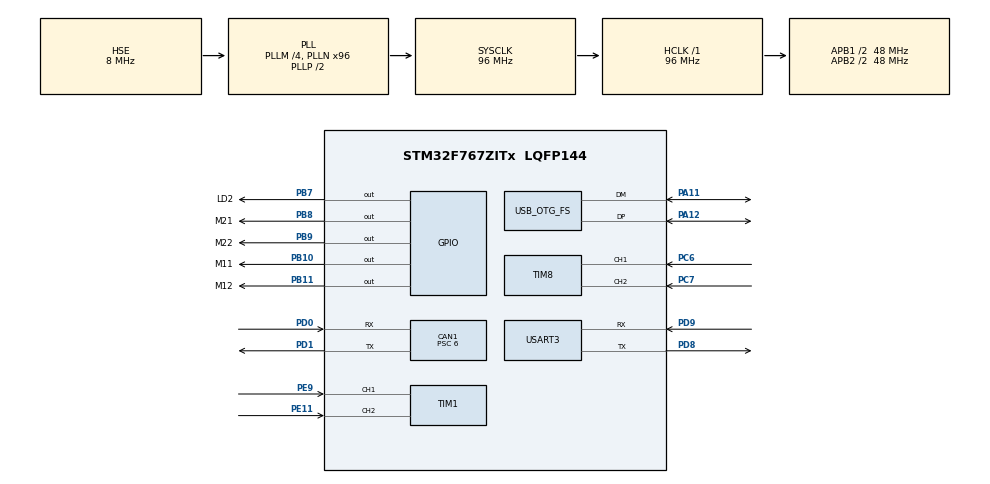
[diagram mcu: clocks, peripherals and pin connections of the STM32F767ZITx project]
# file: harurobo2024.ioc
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CAN1.BS1=CAN_BS1_6TQ
CAN1.CalculateBaudRate=1000000
CAN1.CalculateTimeBit=1000
CAN1.CalculateTimeQuantum=125.0
CAN1.Prescaler=6
CAN1.TXFP=ENABLE
Dma.Request0=USART3_RX
Dma.Request1=USART3_TX
Dma.USART3_RX.0.Direction=DMA_PERIPH_TO_MEMORY
Dma.USART3_RX.0.FIFOMode=DMA_FIFOMODE_DISABLE
Dma.USART3_RX.0.Instance=DMA1_Stream1
Dma.USART3_RX.0.MemDataAlignment=DMA_MDATAALIGN_BYTE
Dma.USART3_RX.0.MemInc=DMA_MINC_ENABLE
Dma.USART3_RX.0.Mode=DMA_CIRCULAR
Dma.USART3_RX.0.PeriphDataAlignment=DMA_PDATAALIGN_BYTE
Dma.USART3_RX.0.PeriphInc=DMA_PINC_DISABLE
Dma.USART3_RX.0.Priority=DMA_PRIORITY_VERY_HIGH
Dma.USART3_TX.1.Direction=DMA_MEMORY_TO_PERIPH
Dma.USART3_TX.1.FIFOMode=DMA_FIFOMODE_DISABLE
Dma.USART3_TX.1.Instance=DMA1_Stream3
Dma.USART3_TX.1.MemDataAlignment=DMA_MDATAALIGN_BYTE
Dma.USART3_TX.1.MemInc=DMA_MINC_ENABLE
Dma.USART3_TX.1.Mode=DMA_NORMAL
Dma.USART3_TX.1.PeriphDataAlignment=DMA_PDATAALIGN_BYTE
Dma.USART3_TX.1.PeriphInc=DMA_PINC_DISABLE
Dma.USART3_TX.1.Priority=DMA_PRIORITY_VERY_HIGH
FREERTOS.Tasks01=defaultTask,48,3000,StartDefaultTask,Default,NULL,Static,defaultTaskBuffer,defaultTaskControlBlock;SysCeckTask,8,512,StartSysCheckTask,Default,NULL,Static,SysCeckTaskBuffer,SysCeckTaskControlBlock;MotorRunTask,40,512,StartMotorRunTask,Default,NULL,Static,MotorRunTaskBuffer,MotorRunTaskControlBlock;EncorderTask,40,512,StartEncorderTask,Default,NULL,Static,EncorderTaskBuffer,EncorderTaskControlBlock
Mcu.Family=STM32F7
Mcu.Name=STM32F767ZITx
Mcu.Package=LQFP144
NVIC.CAN1_RX0_IRQn=true\:5\:0\:false\:false\:true\:true\:true\:true\:true
NVIC.CAN1_RX1_IRQn=true\:5\:0\:false\:false\:true\:true\:true\:true\:true
NVIC.CAN1_TX_IRQn=true\:5\:0\:false\:false\:true\:true\:true\:true\:true
NVIC.DMA1_Stream1_IRQn=true\:5\:0\:false\:false\:true\:true\:false\:true\:true
NVIC.DMA1_Stream3_IRQn=true\:5\:0\:false\:false\:true\:true\:false\:true\:true
NVIC.OTG_FS_IRQn=true\:5\:0\:false\:false\:true\:true\:false\:true\:true
NVIC.PriorityGroup=NVIC_PRIORITYGROUP_4
NVIC.TIM2_IRQn=true\:15\:0\:false\:false\:true\:false\:false\:true\:true
NVIC.TimeBase=TIM2_IRQn
NVIC.TimeBaseIP=TIM2
NVIC.USART3_IRQn=true\:5\:0\:false\:false\:true\:true\:true\:true\:true
PA11.Mode=Device_Only
PA11.Signal=USB_OTG_FS_DM
PA12.Mode=Device_Only
PA12.Signal=USB_OTG_FS_DP
PB10.GPIO_Label=M11
PB10.Signal=GPIO_Output
PB11.GPIO_Label=M12
PB11.Signal=GPIO_Output
PB7.GPIO_Label=LD2
PB7.Signal=GPIO_Output
PB8.GPIO_Label=M21
PB8.Signal=GPIO_Output
PB9.GPIO_Label=M22
PB9.Signal=GPIO_Output
PC6.Signal=S_TIM8_CH1
PC7.Signal=S_TIM8_CH2
PD0.Mode=CAN_Activate
PD0.Signal=CAN1_RX
PD1.Mode=CAN_Activate
PD1.Signal=CAN1_TX
PD8.Mode=Asynchronous
PD8.Signal=USART3_TX
PD9.Mode=Asynchronous
PD9.Signal=USART3_RX
PE11.Signal=S_TIM1_CH2
PE9.Signal=S_TIM1_CH1
PH0/OSC_IN.Mode=HSE-External-Oscillator
PH0/OSC_IN.Signal=RCC_OSC_IN
PH1/OSC_OUT.Mode=HSE-External-Oscillator
PH1/OSC_OUT.Signal=RCC_OSC_OUT
ProjectManager.HeapSize=0x200
ProjectManager.StackSize=0x400
ProjectManager.TargetToolchain=STM32CubeIDE
RCC.AHBFreq_Value=96000000
RCC.APB1CLKDivider=RCC_HCLK_DIV2
RCC.APB1Freq_Value=48000000
RCC.APB1TimFreq_Value=96000000
RCC.APB2CLKDivider=RCC_HCLK_DIV2
RCC.APB2Freq_Value=48000000
RCC.APB2TimFreq_Value=96000000
RCC.CortexFreq_Value=96000000
RCC.HCLKFreq_Value=96000000
RCC.HSE_VALUE=8000000
RCC.HSI_VALUE=16000000
RCC.LSE_VALUE=32768
RCC.PLLM=4
RCC.PLLN=96
RCC.PLLQ=4
RCC.SYSCLKFreq_VALUE=96000000
RCC.SYSCLKSource=RCC_SYSCLKSOURCE_PLLCLK
RCC.USBFreq_Value=48000000
RCC.VCOOutputFreq_Value=192000000
SH.S_TIM1_CH1.0=TIM1_CH1,Encoder_Interface
SH.S_TIM1_CH2.0=TIM1_CH2,Encoder_Interface
SH.S_TIM8_CH1.0=TIM8_CH1,Encoder_Interface
SH.S_TIM8_CH2.0=TIM8_CH2,Encoder_Interface
TIM1.EncoderMode=TIM_ENCODERMODE_TI12
TIM8.EncoderMode=TIM_ENCODERMODE_TI12
USART3.VirtualMode-Asynchronous=VM_ASYNC
USB_DEVICE.CLASS_NAME_FS=CDC
USB_DEVICE.VirtualMode-CDC_FS=Cdc
USB_DEVICE.VirtualModeFS=Cdc_FS
USB_OTG_FS.VirtualMode=Device_Only
VP_FREERTOS_VS_CMSIS_V2.Mode=CMSIS_V2
VP_SYS_VS_tim2.Mode=TIM2
VP_USB_DEVICE_VS_USB_DEVICE_CDC_FS.Mode=CDC_FS
board=custom

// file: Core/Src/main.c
/* USER CODE BEGIN Header */
/**
  ******************************************************************************
  * @file           : main.c
  * @brief          : Main program body
  ******************************************************************************
  * @attention
  *
  * Copyright (c) 2023 STMicroelectronics.
  * All rights reserved.
  *
  * This software is licensed under terms that can be found in the LICENSE file
  * in the root directory of this software component.
  * If no LICENSE file comes with this software, it is provided AS-IS.
  *
  ******************************************************************************
  */
/* USER CODE END Header */
#include "main.h"
#include "cmsis_os.h"
#include "can.h"
#include "dma.h"
#include "tim.h"
#include "usart.h"
#include "usb_device.h"
#include "gpio.h"

/* USER CODE BEGIN Includes */
#include "stdio.h"
#include "CAN_Main.h"
/* USER CODE END Includes */

void SystemClock_Config(void);
void MX_FREERTOS_Init(void);

/* USER CODE BEGIN 0 */
#ifdef __GNUC__
#define PUTCHAR_PROTOTYPE int __io_putchar(uint8_t ch)
#else
#define PUTCHAR_PROTOTYPE int fputc(int ch, FILE *f)
#endif /* __GNUC__ */

PUTCHAR_PROTOTYPE {
    HAL_UART_Transmit(&huart3, &ch, 1, 500);
    return ch;
}

/* USER CODE END 0 */

int main(void)
{

  /* MCU Configuration--------------------------------------------------------*/

  /* Reset of all peripherals, Initializes the Flash interface and the Systick. */
  HAL_Init();

  /* Configure the system clock */
  SystemClock_Config();

  /* Initialize all configured peripherals */
  MX_GPIO_Init();
  MX_DMA_Init();
  MX_USART3_UART_Init();
  MX_TIM1_Init();
  MX_CAN1_Init();
  MX_TIM8_Init();

  /* Init scheduler */
  osKernelInitialize();  /* Call init function for freertos objects (in freertos.c) */
  MX_FREERTOS_Init();

  /* Start scheduler */
  osKernelStart();

  /* We should never get here as control is now taken by the scheduler */
  /* Infinite loop */
  while (1)
  {

  }
}

void SystemClock_Config(void)
{
  RCC_OscInitTypeDef RCC_OscInitStruct = {0};
  RCC_ClkInitTypeDef RCC_ClkInitStruct = {0};

  /** Configure the main internal regulator output voltage
  */
  __HAL_RCC_PWR_CLK_ENABLE();
  __HAL_PWR_VOLTAGESCALING_CONFIG(PWR_REGULATOR_VOLTAGE_SCALE3);

  /** Initializes the RCC Oscillators according to the specified parameters
  * in the RCC_OscInitTypeDef structure.
  */
  RCC_OscInitStruct.OscillatorType = RCC_OSCILLATORTYPE_HSE;
  RCC_OscInitStruct.HSEState = RCC_HSE_ON;
  RCC_OscInitStruct.PLL.PLLState = RCC_PLL_ON;
  RCC_OscInitStruct.PLL.PLLSource = RCC_PLLSOURCE_HSE;
  RCC_OscInitStruct.PLL.PLLM = 4;
  RCC_OscInitStruct.PLL.PLLN = 96;
  RCC_OscInitStruct.PLL.PLLP = RCC_PLLP_DIV2;
  RCC_OscInitStruct.PLL.PLLQ = 4;
  RCC_OscInitStruct.PLL.PLLR = 2;
  if (HAL_RCC_OscConfig(&RCC_OscInitStruct) != HAL_OK)
  {
    Error_Handler();
  }

  /** Activate the Over-Drive mode
  */
  if (HAL_PWREx_EnableOverDrive() != HAL_OK)
  {
    Error_Handler();
  }

  /** Initializes the CPU, AHB and APB buses clocks
  */
  RCC_ClkInitStruct.ClockType = RCC_CLOCKTYPE_HCLK|RCC_CLOCKTYPE_SYSCLK
                              |RCC_CLOCKTYPE_PCLK1|RCC_CLOCKTYPE_PCLK2;
  RCC_ClkInitStruct.SYSCLKSource = RCC_SYSCLKSOURCE_PLLCLK;
  RCC_ClkInitStruct.AHBCLKDivider = RCC_SYSCLK_DIV1;
  RCC_ClkInitStruct.APB1CLKDivider = RCC_HCLK_DIV2;
  RCC_ClkInitStruct.APB2CLKDivider = RCC_HCLK_DIV2;

  if (HAL_RCC_ClockConfig(&RCC_ClkInitStruct, FLASH_LATENCY_3) != HAL_OK)
  {
    Error_Handler();
  }
}

void HAL_TIM_PeriodElapsedCallback(TIM_HandleTypeDef *htim)
{
  if (htim->Instance == TIM2) {
    HAL_IncTick();
  }
}

void Error_Handler(void)
{
  __disable_irq();
  while (1)
  {
  }
}

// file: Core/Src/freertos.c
/* USER CODE BEGIN Header */
/**
  ******************************************************************************
  * File Name          : freertos.c
  * Description        : Code for freertos applications
  ******************************************************************************
  * @attention
  *
  * Copyright (c) 2023 STMicroelectronics.
  * All rights reserved.
  *
  * This software is licensed under terms that can be found in the LICENSE file
  * in the root directory of this software component.
  * If no LICENSE file comes with this software, it is provided AS-IS.
  *
  ******************************************************************************
  */
/* USER CODE END Header */

#include "FreeRTOS.h"
#include "task.h"
#include "main.h"
#include "cmsis_os.h"

/* USER CODE BEGIN Includes */
//micro-rosのためのインクルード
#include <stdbool.h>
#include <rcl/rcl.h>
#include <rcl/error_handling.h>
#include <rclc/rclc.h>
#include <rclc/executor.h>
#include <uxr/client/transport.h>
#include <rmw_microxrcedds_c/config.h>
#include <rmw_microros/rmw_microros.h>
#include <std_msgs/msg/int32.h>
#include <std_msgs/msg/string.h>
#include <geometry_msgs/msg/twist.h>
#include "usart.h"
#include "dma.h"
#include "tim.h"
#include "gpio.h"
// カスタムメッセージのインクルード
#include <custom_test_msgs/srv/add_three_ints.h>
#include <drive_msgs/msg/diff_drive.h>
#include <drive_msgs/msg/omni.h>
#include <drive_msgs/msg/omni_enc.h>
#include <manip_msgs/msg/cmd.h>
#include <manip_msgs/msg/result.h>

//canlibを使うためのinclude
#include "can.h"
#include "CAN_Main.h"
/* USER CODE END Includes */

typedef StaticTask_t osStaticThreadDef_t;

/* USER CODE BEGIN PD */
// エラーハンドリングのためのマクロを設定
#define RCCHECK(fn) { rcl_ret_t temp_rc = fn; if((temp_rc != RCL_RET_OK)){printf("Failed status on line %d: %d. Aborting.\n",__LINE__,(int)temp_rc);}}
#define RCSOFTCHECK(fn) { rcl_ret_t temp_rc = fn; if((temp_rc != RCL_RET_OK)){printf("Failed status on line %d: %d. Continuing.\n",__LINE__,(int)temp_rc);}}

/* USER CODE END PD */

/* USER CODE BEGIN PM */
//micro-rosのメッセージを定義
custom_test_msgs__srv__AddThreeInts_Request req;
custom_test_msgs__srv__AddThreeInts_Response res;
drive_msgs__msg__Omni sub;
manip_msgs__msg__Cmd msub;
std_msgs__msg__String pub;
drive_msgs__msg__OmniEnc enc;

//CANモジュール基盤の設定
NUM_OF_DEVICES num_of_devices;

//mcmdの設定
MCMD_HandleTypedef mcmd4M1_struct;
MCMD_Feedback_Typedef mcmdM1_fb;
MCMD_HandleTypedef mcmd4M2_struct;
MCMD_Feedback_Typedef mcmdM2_fb;
MCMD_HandleTypedef mcmd4M3_struct;
MCMD_Feedback_Typedef mcmdM3_fb;
MCMD_HandleTypedef mcmd4M4_struct;
MCMD_Feedback_Typedef mcmdM4_fb;
MCMD_HandleTypedef mcmd4M5_struct;
MCMD_Feedback_Typedef mcmdM5_fb;
MCMD_HandleTypedef mcmd4M6_struct;
MCMD_Feedback_Typedef mcmdM6_fb;
MCMD_HandleTypedef mcmd4M7_struct;
MCMD_Feedback_Typedef mcmdM7_fb;
MCMD_HandleTypedef mcmd4M8_struct;
MCMD_Feedback_Typedef mcmdM8_fb;
MCMD_HandleTypedef mcmd4Mt_struct;
MCMD_Feedback_Typedef mcmdMt_fb;

//サーボの設定
CANServo_Param_Typedef servo_param1;
CAN_Device servo_device1;
CANServo_Param_Typedef servo_param2;
CAN_Device servo_device2;
CANServo_Param_Typedef servo_param3;
CAN_Device servo_device3;
CANServo_Param_Typedef servo_param4;
CAN_Device servo_device4;
CANServo_Param_Typedef servo_param5;
CAN_Device servo_device5;
CANServo_Param_Typedef servo_param6;
CAN_Device servo_device6;

//エアシリの設定
CAN_Device air_device;
/* USER CODE END PM */

/* USER CODE BEGIN Variables */
rcl_publisher_t publisher;
rcl_publisher_t encpublisher;
/* USER CODE END Variables */
/* Definitions for defaultTask */
osThreadId_t defaultTaskHandle;
uint32_t defaultTaskBuffer[ 3000 ];
osStaticThreadDef_t defaultTaskControlBlock;
const osThreadAttr_t defaultTask_attributes = {
  .name = "defaultTask",
  .cb_mem = &defaultTaskControlBlock,
  .cb_size = sizeof(defaultTaskControlBlock),
  .stack_mem = &defaultTaskBuffer[0],
  .stack_size = sizeof(defaultTaskBuffer),
  .priority = (osPriority_t) osPriorityRealtime,
};
/* Definitions for SysCeckTask */
osThreadId_t SysCeckTaskHandle;
uint32_t SysCeckTaskBuffer[ 512 ];
osStaticThreadDef_t SysCeckTaskControlBlock;
const osThreadAttr_t SysCeckTask_attributes = {
  .name = "SysCeckTask",
  .cb_mem = &SysCeckTaskControlBlock,
  .cb_size = sizeof(SysCeckTaskControlBlock),
  .stack_mem = &SysCeckTaskBuffer[0],
  .stack_size = sizeof(SysCeckTaskBuffer),
  .priority = (osPriority_t) osPriorityLow,
};
/* Definitions for MotorRunTask */
osThreadId_t MotorRunTaskHandle;
uint32_t MotorRunTaskBuffer[ 512 ];
osStaticThreadDef_t MotorRunTaskControlBlock;
const osThreadAttr_t MotorRunTask_attributes = {
  .name = "MotorRunTask",
  .cb_mem = &MotorRunTaskControlBlock,
  .cb_size = sizeof(MotorRunTaskControlBlock),
  .stack_mem = &MotorRunTaskBuffer[0],
  .stack_size = sizeof(MotorRunTaskBuffer),
  .priority = (osPriority_t) osPriorityHigh,
};
/* Definitions for EncorderTask */
osThreadId_t EncorderTaskHandle;
uint32_t EncorderTaskBuffer[ 512 ];
osStaticThreadDef_t EncorderTaskControlBlock;
const osThreadAttr_t EncorderTask_attributes = {
  .name = "EncorderTask",
  .cb_mem = &EncorderTaskControlBlock,
  .cb_size = sizeof(EncorderTaskControlBlock),
  .stack_mem = &EncorderTaskBuffer[0],
  .stack_size = sizeof(EncorderTaskBuffer),
  .priority = (osPriority_t) osPriorityHigh,
};

/* USER CODE BEGIN FunctionPrototypes */

//このコード固有の変数
bool finishCANsetting = false;//can設定が終わったかどうかのフラグ
float cmd_motor[4] = {0,0,0,0};//モーターの制御値を格納しておく変数

//micro-rosのためのプロトタイプ宣言
bool cubemx_transport_open(struct uxrCustomTransport * transport);
bool cubemx_transport_close(struct uxrCustomTransport * transport);
size_t cubemx_transport_write(struct uxrCustomTransport* transport, const uint8_t * buf, size_t len, uint8_t * err);
size_t cubemx_transport_read(struct uxrCustomTransport* transport, uint8_t* buf, size_t len, int timeout, uint8_t* err);
void * microros_allocate(size_t size, void * state);
void microros_deallocate(void * pointer, void * state);
void * microros_reallocate(void * pointer, size_t size, void * state);
void * microros_zero_allocate(size_t number_of_elements, size_t size_of_element, void * state);

void HAL_CAN_TxMailbox0CompleteCallback(CAN_HandleTypeDef *hcan){
    WhenTxMailbox0_1_2CompleteCallbackCalled();
}

void HAL_CAN_TxMailbox0AbortCallback(CAN_HandleTypeDef *hcan){
    WhenTxMailbox0_1_2AbortCallbackCalled();
}

void HAL_CAN_TxMailbox1CompleteCallback(CAN_HandleTypeDef *hcan){
    WhenTxMailbox0_1_2CompleteCallbackCalled();
}

void HAL_CAN_TxMailbox1AbortCallback(CAN_HandleTypeDef *hcan){
    WhenTxMailbox0_1_2AbortCallbackCalled();
}

void HAL_CAN_TxMailbox2CompleteCallback(CAN_HandleTypeDef *hcan){
    WhenTxMailbox0_1_2CompleteCallbackCalled();
}

void HAL_CAN_TxMailbox2AbortCallback(CAN_HandleTypeDef *hcan){
    WhenTxMailbox0_1_2AbortCallbackCalled();
}

void HAL_CAN_RxFifo0MsgPendingCallback(CAN_HandleTypeDef *hcan){
    WhenCANRxFifo0MsgPending(hcan, &num_of_devices);
}
//can通信の設定
void canSetting(){
	printf("Start Initializing CAN System:Begin\n\r");
	osDelay(10);

	CAN_SystemInit(&hcan1);

//	num_of_devices.mcmd3 = 0;
	num_of_devices.mcmd3 = 3;
	num_of_devices.mcmd4 = 0;
	num_of_devices.air = 1;
	num_of_devices.servo = 2;

	printf("Start Initializing CAN System:End\n\r");
	osDelay(10);
	CAN_WaitConnect(&num_of_devices);
}

//モータ1のmcmd設定
void mcmdMoter1Setting(){
	    mcmd4M1_struct.device.node_type = NODE_MCMD3;
	    mcmd4M1_struct.device.node_id = 3;
	    mcmd4M1_struct.device.device_num = 0;

	    mcmd4M1_struct.ctrl_param.ctrl_type = MCMD_CTRL_DUTY;
	    mcmd4M1_struct.ctrl_param.PID_param.kp = 0.055f;
	    mcmd4M1_struct.ctrl_param.PID_param.ki = 0.015f;
	    mcmd4M1_struct.ctrl_param.PID_param.kd = 0.02f;
	    mcmd4M1_struct.ctrl_param.accel_limit = ACCEL_LIMIT_ENABLE;
	    mcmd4M1_struct.ctrl_param.accel_limit_size = 2.0f;
	    mcmd4M1_struct.ctrl_param.feedback = MCMD_FB_ENABLE;
	    mcmd4M1_struct.ctrl_param.timup_monitor = TIMUP_MONITOR_DISABLE;
	    mcmd4M1_struct.enc_dir = MCMD_DIR_FW;
	    mcmd4M1_struct.rot_dir = MCMD_DIR_FW;
	    mcmd4M1_struct.quant_per_unit = 1.0/103500.0f;

	    mcmd4M1_struct.limit_sw_type = LIMIT_SW_NO;
	    mcmd4M1_struct.calib = CALIBRATION_DISABLE;
	    mcmd4M1_struct.calib_duty = -0.2f;
	    mcmd4M1_struct.offset = 0.0f;
	    mcmd4M1_struct.fb_type = MCMD_FB_POS;

		 MCMD_init(&mcmd4M1_struct);
		 osDelay(10);
		 MCMD_Calib(&mcmd4M1_struct);
		 osDelay(50);
		 MCMD_SetTarget(&mcmd4M1_struct, 0.0f);
		 MCMD_Control_Enable(&mcmd4M1_struct);
}

//モータ2のmcmd設定
void mcmdMoter2Setting(){
	    mcmd4M2_struct.device.node_type = NODE_MCMD3;
	    mcmd4M2_struct.device.node_id = 3;
	    mcmd4M2_struct.device.device_num = 1;

	    mcmd4M2_struct.ctrl_param.ctrl_type = MCMD_CTRL_DUTY;
	    mcmd4M2_struct.ctrl_param.PID_param.kp = 0.055f;
	    mcmd4M2_struct.ctrl_param.PID_param.ki = 0.015f;
	    mcmd4M2_struct.ctrl_param.PID_param.kd = 0.02f;
	    mcmd4M2_struct.ctrl_param.accel_limit = ACCEL_LIMIT_ENABLE;
	    mcmd4M2_struct.ctrl_param.accel_limit_size = 2.0f;
	    mcmd4M2_struct.ctrl_param.feedback = MCMD_FB_ENABLE;
	    mcmd4M2_struct.ctrl_param.timup_monitor = TIMUP_MONITOR_DISABLE;
	    mcmd4M2_struct.enc_dir = MCMD_DIR_FW;
	    mcmd4M2_struct.rot_dir = MCMD_DIR_FW;
	    mcmd4M2_struct.quant_per_unit = 1.0/103500.0f;

	    mcmd4M2_struct.limit_sw_type = LIMIT_SW_NO;
	    mcmd4M2_struct.calib = CALIBRATION_DISABLE;
	    mcmd4M2_struct.calib_duty = -0.2f;
	    mcmd4M2_struct.offset = 0.0f;
	    mcmd4M2_struct.fb_type = MCMD_FB_POS;

		 MCMD_init(&mcmd4M2_struct);
		 osDelay(10);
		 MCMD_Calib(&mcmd4M2_struct);
		 osDelay(50);
		 MCMD_SetTarget(&mcmd4M2_struct, 0.00f);
		 MCMD_Control_Enable(&mcmd4M2_struct);
}

void mcmdMoter3Setting(){
	    mcmd4M3_struct.device.node_type = NODE_MCMD3;
	    mcmd4M3_struct.device.node_id = 2;
	    mcmd4M3_struct.device.device_num = 0;

	    mcmd4M3_struct.ctrl_param.ctrl_type = MCMD_CTRL_DUTY;
	    mcmd4M3_struct.ctrl_param.PID_param.kp = 0.055f;
	    mcmd4M3_struct.ctrl_param.PID_param.ki = 0.015f;
	    mcmd4M3_struct.ctrl_param.PID_param.kd = 0.02f;
	    mcmd4M3_struct.ctrl_param.accel_limit = ACCEL_LIMIT_ENABLE;
	    mcmd4M3_struct.ctrl_param.accel_limit_size = 2.0f;
	    mcmd4M3_struct.ctrl_param.feedback = MCMD_FB_ENABLE;
	    mcmd4M3_struct.ctrl_param.timup_monitor = TIMUP_MONITOR_DISABLE;
	    mcmd4M3_struct.enc_dir = MCMD_DIR_FW;
	    mcmd4M3_struct.rot_dir = MCMD_DIR_FW;
	    mcmd4M3_struct.quant_per_unit = 1.0/103500.0f;

	    mcmd4M3_struct.limit_sw_type = LIMIT_SW_NO;
	    mcmd4M3_struct.calib = CALIBRATION_DISABLE;
	    mcmd4M3_struct.calib_duty = -0.2f;
	    mcmd4M3_struct.offset = 0.0f;
	    mcmd4M3_struct.fb_type = MCMD_FB_POS;

		 MCMD_init(&mcmd4M3_struct);
		 osDelay(10);
		 MCMD_Calib(&mcmd4M3_struct);
		 osDelay(50);
		 MCMD_SetTarget(&mcmd4M3_struct, 0.00f);
		 MCMD_Control_Enable(&mcmd4M3_struct);
}

void mcmdMoter4Setting(){
	    mcmd4M4_struct.device.node_type = NODE_MCMD3;
	    mcmd4M4_struct.device.node_id =2;
	    mcmd4M4_struct.device.device_num = 1;

	    mcmd4M4_struct.ctrl_param.ctrl_type = MCMD_CTRL_DUTY;
	    mcmd4M4_struct.ctrl_param.PID_param.kp = 0.055f;
	    mcmd4M4_struct.ctrl_param.PID_param.ki = 0.015f;
	    mcmd4M4_struct.ctrl_param.PID_param.kd = 0.02f;
	    mcmd4M4_struct.ctrl_param.accel_limit = ACCEL_LIMIT_ENABLE;
	    mcmd4M4_struct.ctrl_param.accel_limit_size = 2.0f;
	    mcmd4M4_struct.ctrl_param.feedback = MCMD_FB_ENABLE;
	    mcmd4M4_struct.ctrl_param.timup_monitor = TIMUP_MONITOR_DISABLE;
	    mcmd4M4_struct.enc_dir = MCMD_DIR_FW;
	    mcmd4M4_struct.rot_dir = MCMD_DIR_FW;
	    mcmd4M4_struct.quant_per_unit = 1.0/26850.0f;

	    mcmd4M4_struct.limit_sw_type = LIMIT_SW_NO;
	    mcmd4M4_struct.calib = CALIBRATION_DISABLE;
	    mcmd4M4_struct.calib_duty = -0.2f;
	    mcmd4M4_struct.offset = 0.0f;
	    mcmd4M4_struct.fb_type = MCMD_FB_POS;

		 MCMD_init(&mcmd4M4_struct);
		 osDelay(10);
		 MCMD_Calib(&mcmd4M4_struct);
		 osDelay(50);
		 MCMD_SetTarget(&mcmd4M4_struct, 0.00f);
		 MCMD_Control_Enable(&mcmd4M4_struct);
}

void mcmdMoter5Setting(){
	    mcmd4M5_struct.device.node_type = NODE_MCMD3;
	    mcmd4M5_struct.device.node_id =5;
	    mcmd4M5_struct.device.device_num = 0;

	    mcmd4M5_struct.ctrl_param.ctrl_type = MCMD_CTRL_POS;
	    mcmd4M5_struct.ctrl_param.PID_param.kp = 4.5f;
	    mcmd4M5_struct.ctrl_param.PID_param.ki = 1.0f;
	    mcmd4M5_struct.ctrl_param.PID_param.kd = 0.01f;
	    mcmd4M5_struct.ctrl_param.accel_limit = ACCEL_LIMIT_ENABLE;
	    mcmd4M5_struct.ctrl_param.accel_limit_size = 2.0f;
	    mcmd4M5_struct.ctrl_param.feedback = MCMD_FB_ENABLE;
	    mcmd4M5_struct.ctrl_param.timup_monitor = TIMUP_MONITOR_DISABLE;
	    mcmd4M5_struct.enc_dir = MCMD_DIR_BC;
	    mcmd4M5_struct.rot_dir = MCMD_DIR_BC;
	    mcmd4M5_struct.quant_per_unit = 1.0/8230.0f;

	    mcmd4M5_struct.limit_sw_type = LIMIT_SW_NO;
	    mcmd4M5_struct.calib = CALIBRATION_DISABLE;
	    mcmd4M5_struct.calib_duty = -0.2f;
	    mcmd4M5_struct.offset = 0.0f;
	    mcmd4M5_struct.fb_type = MCMD_FB_POS;

		 MCMD_init(&mcmd4M5_struct);
		 osDelay(10);
		 MCMD_Calib(&mcmd4M5_struct);
		 osDelay(50);
		 MCMD_SetTarget(&mcmd4M5_struct, 0.00f);
		 MCMD_Control_Enable(&mcmd4M5_struct);
}

void mcmdMoter6Setting(){
	    mcmd4M6_struct.device.node_type = NODE_MCMD3;
	    mcmd4M6_struct.device.node_id =5;
	    mcmd4M6_struct.device.device_num = 1;

	    mcmd4M6_struct.ctrl_param.ctrl_type = MCMD_CTRL_POS;
	    mcmd4M6_struct.ctrl_param.PID_param.kp = 4.5f;
	    mcmd4M6_struct.ctrl_param.PID_param.ki = 1.0f;
	    mcmd4M6_struct.ctrl_param.PID_param.kd = 0.01f;
	    mcmd4M6_struct.ctrl_param.accel_limit = ACCEL_LIMIT_ENABLE;
	    mcmd4M6_struct.ctrl_param.accel_limit_size = 2.0f;
	    mcmd4M6_struct.ctrl_param.feedback = MCMD_FB_ENABLE;
	    mcmd4M6_struct.ctrl_param.timup_monitor = TIMUP_MONITOR_DISABLE;
	    mcmd4M6_struct.enc_dir = MCMD_DIR_FW;
	    mcmd4M6_struct.rot_dir = MCMD_DIR_FW;
	    mcmd4M6_struct.quant_per_unit = 1.0/8230.0f;

	    mcmd4M6_struct.limit_sw_type = LIMIT_SW_NO;
	    mcmd4M6_struct.calib = CALIBRATION_DISABLE;
	    mcmd4M6_struct.calib_duty = -0.2f;
	    mcmd4M6_struct.offset = 0.0f;
	    mcmd4M6_struct.fb_type = MCMD_FB_POS;

		 MCMD_init(&mcmd4M6_struct);
		 osDelay(10);
		 MCMD_Calib(&mcmd4M6_struct);
		 osDelay(50);
		 MCMD_SetTarget(&mcmd4M6_struct, 0.00f);
		 MCMD_Control_Enable(&mcmd4M6_struct);
}

void mcmdMoter7Setting(){
	    mcmd4M7_struct.device.node_type = NODE_MCMD3;
	    mcmd4M7_struct.device.node_id =3;
	    mcmd4M7_struct.device.device_num = 0;

	    mcmd4M7_struct.ctrl_param.ctrl_type = MCMD_CTRL_DUTY;
	    mcmd4M7_struct.ctrl_param.PID_param.kp = 0.075f;
	    mcmd4M7_struct.ctrl_param.PID_param.ki = 0.025f;
	    mcmd4M7_struct.ctrl_param.PID_param.kd = 0.01f;
	    mcmd4M7_struct.ctrl_param.accel_limit = ACCEL_LIMIT_ENABLE;
	    mcmd4M7_struct.ctrl_param.accel_limit_size = 2.0f;
	    mcmd4M7_struct.ctrl_param.feedback = MCMD_FB_ENABLE;
	    mcmd4M7_struct.ctrl_param.timup_monitor = TIMUP_MONITOR_DISABLE;
	    mcmd4M7_struct.enc_dir = MCMD_DIR_FW;
	    mcmd4M7_struct.rot_dir = MCMD_DIR_BC;
	    mcmd4M7_struct.quant_per_unit = 1.0/1024.0f;

	    mcmd4M7_struct.limit_sw_type = LIMIT_SW_NO;
	    mcmd4M7_struct.calib = CALIBRATION_DISABLE;
	    mcmd4M7_struct.calib_duty = -0.2f;
	    mcmd4M7_struct.offset = 0.0f;
	    mcmd4M7_struct.fb_type = MCMD_FB_POS;

		 MCMD_init(&mcmd4M7_struct);
		 osDelay(10);
		 MCMD_Calib(&mcmd4M7_struct);
		 osDelay(50);
		 MCMD_SetTarget(&mcmd4M7_struct, 0.00f);
		 MCMD_Control_Enable(&mcmd4M7_struct);
}

void mcmdMoter8Setting(){
	    mcmd4M8_struct.device.node_type = NODE_MCMD3;
	    mcmd4M8_struct.device.node_id =3;
	    mcmd4M8_struct.device.device_num = 1;

	    mcmd4M8_struct.ctrl_param.ctrl_type = MCMD_CTRL_DUTY;
	    mcmd4M8_struct.ctrl_param.PID_param.kp = 0.075f;
	    mcmd4M8_struct.ctrl_param.PID_param.ki = 0.025f;
	    mcmd4M8_struct.ctrl_param.PID_param.kd = 0.01f;
	    mcmd4M8_struct.ctrl_param.accel_limit = ACCEL_LIMIT_ENABLE;
	    mcmd4M8_struct.ctrl_param.accel_limit_size = 2.0f;
	    mcmd4M8_struct.ctrl_param.feedback = MCMD_FB_ENABLE;
	    mcmd4M8_struct.ctrl_param.timup_monitor = TIMUP_MONITOR_DISABLE;
	    mcmd4M8_struct.enc_dir = MCMD_DIR_FW;
	    mcmd4M8_struct.rot_dir = MCMD_DIR_BC;
	    mcmd4M8_struct.quant_per_unit = 1.0/1024.0f;

	    mcmd4M8_struct.limit_sw_type = LIMIT_SW_NO;
	    mcmd4M8_struct.calib = CALIBRATION_DISABLE;
	    mcmd4M8_struct.calib_duty = -0.2f;
	    mcmd4M8_struct.offset = 0.0f;
	    mcmd4M8_struct.fb_type = MCMD_FB_POS;

		 MCMD_init(&mcmd4M8_struct);
		 osDelay(10);
		 MCMD_Calib(&mcmd4M8_struct);
		 osDelay(50);
		 MCMD_SetTarget(&mcmd4M8_struct, 0.00f);
		 MCMD_Control_Enable(&mcmd4M8_struct);
}

void mcmdMoter_Test_Setting(){
	    mcmd4Mt_struct.device.node_type = NODE_MCMD3;
	    mcmd4Mt_struct.device.node_id =1;
	    mcmd4Mt_struct.device.device_num = 1;

	    mcmd4Mt_struct.ctrl_param.ctrl_type = MCMD_CTRL_DUTY;
	    mcmd4Mt_struct.ctrl_param.PID_param.kp = 0.075f;
	    mcmd4Mt_struct.ctrl_param.PID_param.ki = 0.025f;
	    mcmd4Mt_struct.ctrl_param.PID_param.kd = 0.01f;
	    mcmd4Mt_struct.ctrl_param.accel_limit = ACCEL_LIMIT_ENABLE;
	    mcmd4Mt_struct.ctrl_param.accel_limit_size = 2.0f;
	    mcmd4Mt_struct.ctrl_param.feedback = MCMD_FB_ENABLE;
	    mcmd4Mt_struct.ctrl_param.timup_monitor = TIMUP_MONITOR_DISABLE;
	    mcmd4Mt_struct.enc_dir = MCMD_DIR_FW;
	    mcmd4Mt_struct.rot_dir = MCMD_DIR_BC;
	    mcmd4Mt_struct.quant_per_unit = 1.0/1024.0f;

	    mcmd4Mt_struct.limit_sw_type = LIMIT_SW_NO;
	    mcmd4Mt_struct.calib = CALIBRATION_DISABLE;
	    mcmd4Mt_struct.calib_duty = -0.2f;
	    mcmd4Mt_struct.offset = 0.0f;
	    mcmd4Mt_struct.fb_type = MCMD_FB_POS;

		 MCMD_init(&mcmd4Mt_struct);
		 osDelay(10);
		 MCMD_Calib(&mcmd4Mt_struct);
		 osDelay(50);
		 MCMD_SetTarget(&mcmd4Mt_struct, 0.00f);
		 MCMD_Control_Enable(&mcmd4Mt_struct);
}

//サーボ基盤設定
void servo1Setting(){
	servo_device1.node_type = NODE_SERVO;
	servo_device1.node_id = 0;
	servo_device1.device_num = 0;

	servo_param1.angle_range=270.0f;
	servo_param1.angle_offset=0.0f;
	servo_param1.pulse_width_max=2.4f;
	servo_param1.pulse_width_min=0.5f;
	servo_param1.pwm_frequency=50;

	osDelay(50);
}

void servo2Setting(){
	servo_device2.node_type = NODE_SERVO;
	servo_device2.node_id = 0;
	servo_device2.device_num = 1;

	servo_param2.angle_range=270.0f;
	servo_param2.angle_offset=0.0f;
	servo_param2.pulse_width_max=2.4f;
	servo_param2.pulse_width_min=0.5f;
	servo_param2.pwm_frequency=50;

	osDelay(50);
}

void servo3Setting(){
	servo_device3.node_type = NODE_SERVO;
	servo_device3.node_id = 1;
	servo_device3.device_num = 0;

	servo_param3.angle_range=270.0f;
	servo_param3.angle_offset=0.0f;
	servo_param3.pulse_width_max=2.4f;
	servo_param3.pulse_width_min=0.5f;
	servo_param3.pwm_frequency=50;

	osDelay(50);
}
void servo4Setting(){
	servo_device4.node_type = NODE_SERVO;
	servo_device4.node_id = 1;
	servo_device4.device_num = 1;

	servo_param4.angle_range=270.0f;
	servo_param4.angle_offset=0.0f;
	servo_param4.pulse_width_max=2.4f;
	servo_param4.pulse_width_min=0.5f;
	servo_param4.pwm_frequency=50;

	osDelay(50);
}
void servo5Setting(){
	servo_device5.node_type = NODE_SERVO;
	servo_device5.node_id = 0;
	servo_device5.device_num = 2;

	servo_param5.angle_range=270.0f;
	servo_param5.angle_offset=0.0f;
	servo_param5.pulse_width_max=2.4f;
	servo_param5.pulse_width_min=0.5f;
	servo_param5.pwm_frequency=50;

	osDelay(50);
}
void servo6Setting(){
	servo_device6.node_type = NODE_SERVO;
	servo_device6.node_id = 1;
	servo_device6.device_num = 3;

	servo_param6.angle_range=270.0f;
	servo_param6.angle_offset=0.0f;
	servo_param6.pulse_width_max=2.4f;
	servo_param6.pulse_width_min=0.5f;
	servo_param6.pwm_frequency=50;

	osDelay(50);
}

//エアシリ基盤設定
void airSetting(){
	air_device.node_type = NODE_AIR;
	air_device.node_id = 0;

	 for(uint8_t i=PORT_1; i<=PORT_8; i++){
		air_device.device_num = i; //
		AirCylinder_Init(&air_device, AIR_OFF);
		HAL_Delay(10);  // このdelayは必要
	 }
}
/* USER CODE END FunctionPrototypes */

void StartDefaultTask(void *argument);
void StartSysCheckTask(void *argument);
void StartMotorRunTask(void *argument);
void StartEncorderTask(void *argument);

extern void MX_USB_DEVICE_Init(void);
void MX_FREERTOS_Init(void); /* (MISRA C 2004 rule 8.1) */

void MX_FREERTOS_Init(void) {

  /* Create the thread(s) */
  /* creation of defaultTask */
  defaultTaskHandle = osThreadNew(StartDefaultTask, NULL, &defaultTask_attributes);

  /* creation of SysCeckTask */
  SysCeckTaskHandle = osThreadNew(StartSysCheckTask, NULL, &SysCeckTask_attributes);

  /* creation of MotorRunTask */
  MotorRunTaskHandle = osThreadNew(StartMotorRunTask, NULL, &MotorRunTask_attributes);

  /* creation of EncorderTask */
  EncorderTaskHandle = osThreadNew(StartEncorderTask, NULL, &EncorderTask_attributes);

}

/* USER CODE BEGIN Header_StartDefaultTask */
/**
  * @brief  Function implementing the defaultTask thread.
  * @param  argument: Not used
  * @retval None
  */

//過去の遺物
void service_callback(const void *request, void *response)
{
	custom_test_msgs__srv__AddThreeInts_Request *_req = (custom_test_msgs__srv__AddThreeInts_Request *)request;
	custom_test_msgs__srv__AddThreeInts_Response *_res = (custom_test_msgs__srv__AddThreeInts_Response *)response;

	osDelay(1000);

	_res->sum = _req->a + _req->b + _req->c;
}

//速度司令を格納
void subscription_callback(const void * msgin)
{
	  const drive_msgs__msg__Omni * sub = (const drive_msgs__msg__Omni *)msgin;

	  cmd_motor[0] = sub->mfontright;
	  cmd_motor[1] = sub->mfrontleft;
	  cmd_motor[2] = sub->mbackright;
	  cmd_motor[3] = sub->mbackleft;
}

//micro-rosでのデバッグ用
void print_int(int num){
	rosidl_runtime_c__String__init(&pub);
	char val[12];
	snprintf(val, 12, "%d", num);
	rosidl_runtime_c__String__assignn(&pub.data, val, sizeof(val));
	RCSOFTCHECK(rcl_publish(&publisher, &pub, NULL));
}

//マニピュレーションのためのコールバック関数群
void manipsub_callback(const void * msgin)
{
	 // Cast received message to used type
	  const manip_msgs__msg__Cmd * msub = (const manip_msgs__msg__Cmd *)msgin;

//	  print_int(msub->num);
//	  print_int(msub->top_base_arm);
//	  print_int(msub->top_base_hand);

	  work_arm_deployer(msub->work_arm_deploy);
	  work_arm_setter(msub->work_arm);
	  work_hand_setter(msub->work_hand);
	  base1_arm_setter(msub->top_base_arm);
	  base1_hand_setter(msub->top_base_hand);
	  base2_arm_setter(msub->bottom_base_arm);
	  base2_hand_setter(msub->bottom_base_hand);

	  HAL_GPIO_TogglePin(GPIOB, LD2_Pin);
}

void work_arm_deployer(int state){//state:{0:close,1:open}
	if(state == 0){
		ServoDriver_Init(&servo_device1, &servo_param1);
		osDelay(100);  // 適切なdelayを入れる
		ServoDriver_SendValue(&servo_device1, 45.0f);
		ServoDriver_Init(&servo_device2, &servo_param2);
		osDelay(100);
		ServoDriver_SendValue(&servo_device2, 145.0f);
	}else if(state == 1){
		ServoDriver_Init(&servo_device1, &servo_param1);
		osDelay(100);
		ServoDriver_SendValue(&servo_device1, 135.0f);
		ServoDriver_Init(&servo_device2, &servo_param2);
		osDelay(100);
		ServoDriver_SendValue(&servo_device2, 60.0f);
		ServoDriver_Init(&servo_device5, &servo_param5);
		osDelay(200);
		ServoDriver_SendValue(&servo_device5, 180.0f);
	}
}

void work_hand_setter(int state){//state:{0:open,1:close}
	  if(state == 0){
		  air_device.device_num=1;
		  AirCylinder_SendOutput(&air_device, AIR_OFF);
	  }else if(state == 1){
		  air_device.device_num=1;
		  AirCylinder_SendOutput(&air_device, AIR_ON);
	  }
}

void work_arm_setter(int state){//state:{0:up,1:down}
	  if(state == 0){
		  air_device.device_num=0;
		  AirCylinder_SendOutput(&air_device, AIR_OFF);
	  }else if(state == 1){
		  air_device.device_num=0;
		  AirCylinder_SendOutput(&air_device, AIR_ON);
	  }
}

void base_hand_deployer(int state){
	if(state == 0){
		ServoDriver_Init(&servo_device3, &servo_param3);
		osDelay(200);  // 適切なdelayを入れる
		ServoDriver_SendValue(&servo_device3, 60.0f);
		ServoDriver_Init(&servo_device4, &servo_param4);
		osDelay(200);
		ServoDriver_SendValue(&servo_device4, 90.0f);
		ServoDriver_Init(&servo_device6, &servo_param6);
		osDelay(200);
		ServoDriver_SendValue(&servo_device6, 180.0f);
		osDelay(1000);

	}else if(state == 1){

	}
}
//base1 high
//base2 low
void base1_arm_setter(int state){
	if(state == 1){
		MCMD_SetTarget(&mcmd4M5_struct,0.0f);
	}else if(state == 0){
		MCMD_SetTarget(&mcmd4M5_struct,0.23f);
	}else if(state == 2){
		MCMD_SetTarget(&mcmd4M5_struct,0.11f);
	}
}

void base1_hand_setter(int state){

	if(state == 0){
		air_device.device_num=3;
		AirCylinder_SendOutput(&air_device, AIR_OFF);
		}else if(state == 1){
			air_device.device_num=3;
			AirCylinder_SendOutput(&air_device, AIR_ON);
		}
}

void base2_arm_setter(int state){
	if(state == 1){
		MCMD_SetTarget(&mcmd4M6_struct,0.0f);
	}else if(state == 0){
		MCMD_SetTarget(&mcmd4M6_struct,0.12f);
	}
}

void base2_hand_setter(int state){
	if(state == 0){
		air_device.device_num=2;
		AirCylinder_SendOutput(&air_device, AIR_OFF);
		}else if(state == 1){
			air_device.device_num=2;
			AirCylinder_SendOutput(&air_device, AIR_ON);
		}
}

/* USER CODE END Header_StartDefaultTask */
void StartDefaultTask(void *argument)
{
  /* init code for USB_DEVICE */
  MX_USB_DEVICE_Init();
  /* USER CODE BEGIN StartDefaultTask */
  // micro-ROSの設定
  	rmw_uros_set_custom_transport(
  	    true,
  	    (void *) &huart3,
  	    cubemx_transport_open,
  	    cubemx_transport_close,
  	    cubemx_transport_write,
  	    cubemx_transport_read);

  	rcl_allocator_t freeRTOS_allocator = rcutils_get_zero_initialized_allocator();
  	freeRTOS_allocator.allocate = microros_allocate;
  	freeRTOS_allocator.deallocate = microros_deallocate;
  	freeRTOS_allocator.reallocate = microros_reallocate;
  	freeRTOS_allocator.zero_allocate =  microros_zero_allocate;
  	if (!rcutils_set_default_allocator(&freeRTOS_allocator)) {
  		printf("Error on default allocators (line %d)\n", __LINE__);
  	}

  	osDelay(100);

  	setvbuf(stdout, NULL, _IONBF, BUFSIZ);
  	rcl_init_options_t init_options = rcl_get_zero_initialized_init_options();
  	rcl_allocator_t allocator = rcl_get_default_allocator();
  	rclc_support_t support;
  	rcl_node_t node = rcl_get_zero_initialized_node();
  	rcl_service_t service = rcl_get_zero_initialized_service();
  	publisher = rcl_get_zero_initialized_publisher();
  	rcl_subscription_t subscriber = rcl_get_zero_initialized_subscription();
  	rcl_subscription_t manipsub = rcl_get_zero_initialized_subscription();
  	rclc_executor_t executor = rclc_executor_get_zero_initialized_executor();
  	rcl_node_options_t node_ops = rcl_node_get_default_options();

  	osDelay(100);

  	//ノードの設定
  	RCCHECK(rcl_init_options_init(&init_options, allocator));
  	RCCHECK(rcl_init_options_set_domain_id(&init_options, 0));
  	rclc_support_init_with_options(&support, 0, NULL, &init_options, &allocator);
  	RCCHECK(rclc_node_init_with_options(&node, "f7_node", "", &support, &node_ops));
  	RCCHECK(rclc_service_init_default(&service, &node, ROSIDL_GET_SRV_TYPE_SUPPORT(custom_test_msgs, srv, AddThreeInts), "add_three_ints"));

	RCCHECK(rclc_publisher_init_default(
	  &publisher,
	  &node,
	  ROSIDL_GET_MSG_TYPE_SUPPORT(std_msgs, msg, String),
	  "/from_f767zi"));

		RCCHECK(rclc_publisher_init_default(
		  &encpublisher,
		  &node,
		  ROSIDL_GET_MSG_TYPE_SUPPORT(drive_msgs, msg, OmniEnc),
		  "/enc_val_f7"));

		RCCHECK(rclc_subscription_init_default(
		  &subscriber,
		  &node,
		  ROSIDL_GET_MSG_TYPE_SUPPORT(drive_msgs, msg, Omni),
		  "/cmd_motor_f7"));

		RCCHECK(rclc_subscription_init_default(
		  &manipsub,
		  &node,
		  ROSIDL_GET_MSG_TYPE_SUPPORT(manip_msgs, msg, Cmd),
		  "/manip_cmd_f7"));

		RCCHECK(rclc_executor_init(&executor, &support.context, 3, &allocator));

  	RCCHECK(rclc_executor_add_service(&executor, &service, &req, &res, &service_callback));
  	RCCHECK(rclc_executor_add_subscription(
  		  &executor, &subscriber, &sub,
  		  &subscription_callback, ON_NEW_DATA));
  	RCCHECK(rclc_executor_add_subscription(
  	  		  &executor, &manipsub, &msub,
  	  		  &manipsub_callback, ON_NEW_DATA));

  	osDelay(100);

    //配列データを扱うときの処理
    rosidl_runtime_c__String__init(&pub);
    char hello[] = "initialized from f7";
    rosidl_runtime_c__String__assignn(&pub.data, hello, sizeof(hello));
    RCSOFTCHECK(rcl_publish(&publisher, &pub, NULL));

    //ピンの初期化
    HAL_GPIO_WritePin(GPIOB, LD2_Pin, GPIO_PIN_RESET);

    //CANの設定を実行
	canSetting();
//	mcmdMoter_Test_Setting();
	mcmdMoter1Setting();
	mcmdMoter2Setting();
	mcmdMoter3Setting();
	mcmdMoter4Setting();
	mcmdMoter5Setting();
	mcmdMoter6Setting();
//	mcmdMoter7Setting();
//	mcmdMoter8Setting();
	servo1Setting();
	servo2Setting();
	servo3Setting();
	servo4Setting();
	servo5Setting();
	servo6Setting();
	airSetting();

	printf("All Setting Finished\r\n");
	base_hand_deployer(0);
	work_arm_deployer(1);
	osDelay(2000);
	base1_hand_setter(1);
	base2_hand_setter(1);
	printf("work arm deployed \r\n");
	finishCANsetting = true;
	osDelay(100);

  /* Infinite loop */
  for(;;)
  {
	  // エグゼキューターを実行してリクエストを処理
	  rclc_executor_spin_some(&executor, RCL_MS_TO_NS(100));
	  //RCSOFTCHECK(rcl_publish(&encpublisher, &enc, NULL));//printfを見たいときはコメントアウト

	  osDelay(10);
  }
  // 終了処理
  	RCCHECK(rcl_service_fini(&service, &node));
  	RCCHECK(rcl_service_fini(&publisher, &node));
  	RCCHECK(rcl_service_fini(&subscriber, &node));
  	RCCHECK(rcl_service_fini(&manipsub, &node));
  	RCCHECK(rcl_node_fini(&node));
  /* USER CODE END StartDefaultTask */
}

/* USER CODE BEGIN Header_StartSysCheckTask */
/**
* @brief Function implementing the SysCeckTask thread.
* @param argument: Not used
* @retval None
*/
//動作確認のための関数群
bool finishCheck = false;//動作確認が終わったかどうかのフラグ

void freeRTOSChecker(){//無限ループの中で実行
	HAL_GPIO_TogglePin(GPIOB, LD2_Pin);  // PINのPin stateを反転
	printf("RTOSchecking\r\n");

}

float velLimmiter(float input){
	const float velLimmit = 3.0f;
	if(input >= velLimmit){
		input = velLimmit;
	}else if(input <= velLimmit*-1.0){
		input = velLimmit*-1.0;
	}

	return input;
}

float dutyLimmiter(float input){
	const float dutyLimmit = 0.5;
	if(input >= dutyLimmit){
		input = dutyLimmit;
	}else if(input <= dutyLimmit*-1.0){
		input = dutyLimmit*-1.0;
	}

	return input;
}

void mcmdMotorCecker(MCMD_HandleTypedef *mcmd_struct, int ctrl_mode,float target, int testSec, float endTarget){
	int node_id = mcmd_struct->device.node_id;
	int device_num = mcmd_struct->device.device_num;
	int ctrl_type = mcmd_struct->ctrl_param.ctrl_type;

	osDelay(100);
	switch(ctrl_mode){
		case MCMD_CTRL_DUTY:
			target = dutyLimmiter(target);
			break;
		case MCMD_CTRL_VEL:
			target = velLimmiter(target);
			break;
		default:
			break;
	}

	printf("MCMD3 Check node_id:%d device_num:%d\r\n",node_id,device_num);

	MCMD_Control_Disable(mcmd_struct);
	mcmd_struct->ctrl_param.ctrl_type = ctrl_mode;
	MCMD_ChangeControl(mcmd_struct);
	MCMD_Calib(mcmd_struct);
	MCMD_SetTarget(mcmd_struct,target);
	MCMD_Control_Enable(mcmd_struct);

	osDelay(testSec);

	MCMD_Control_Disable(mcmd_struct);
	mcmd_struct->ctrl_param.ctrl_type = ctrl_type;
	MCMD_ChangeControl(mcmd_struct);
	MCMD_Calib(mcmd_struct);
	MCMD_SetTarget(mcmd_struct,endTarget);
	MCMD_Control_Enable(mcmd_struct);

	osDelay(100);
}

void mcmdEncChecker(MCMD_Feedback_Typedef *mcmd_fb, MCMD_HandleTypedef *mcmd_struct, int interbalSec){
	int node_id = mcmd_struct->device.node_id;
	int device_num = mcmd_struct->device.device_num;

	mcmd_fb->value = Get_MCMD_Feedback(&(mcmd_struct->device)).value;
	printf("value of %d node %d device %d\r\n",node_id,device_num,(int)((mcmd_fb->value)*100));
	osDelay(interbalSec);
}

//サーボの動作確認用
void servoChecker(CAN_Device *servo_device,CANServo_Param_Typedef *servo_param,float target){
	int node_id = servo_device->node_id;
	int device_num = servo_device->device_num;
	ServoDriver_Init(servo_device, servo_param);
	osDelay(100);
	printf("servo Check node_id:%d device_num:%d\r\n",node_id,device_num);
	ServoDriver_SendValue(servo_device, target);
}

//エアシリの動作確認用
void airChecker(){
	  air_device.device_num=0;
	  AirCylinder_SendOutput(&air_device, AIR_ON);
	  air_device.device_num=1;
	  AirCylinder_SendOutput(&air_device, AIR_ON);
	  osDelay(2000);
	  air_device.device_num=0;
	  AirCylinder_SendOutput(&air_device, AIR_OFF);
	  air_device.device_num=1;
	  AirCylinder_SendOutput(&air_device, AIR_OFF);
}
/* USER CODE END Header_StartSysCheckTask */
void StartSysCheckTask(void *argument)
{
  /* USER CODE BEGIN StartSysCheckTask */
  /* Infinite loop */
  for(;;)
  {
	  if(finishCANsetting){
		  if(!finishCheck){
			  osDelay(1000);//このdelayは必要？
//			  servoChecker(&servo_device1,&servo_param1,45.0f);
//			  servoChecker(&servo_device2,&servo_param2,135.0f);
//			  servoChecker(&servo_device3,&servo_param3,60.0f);
//			  servoChecker(&servo_device4,&servo_param4,110.0f);
//			  servoChecker(&servo_device5,&servo_param5,0.0f);
//			  servoChecker(&servo_device6,&servo_param6,0.0f);
//			  mcmdMotorCecker(&mcmd4M1_struct,MCMD_CTRL_DUTY,0.3f,5000,0.0f);
//			  mcmdMotorCecker(&mcmd4M2_struct,MCMD_CTRL_DUTY,0.3f,5000,0.0f);
//			  mcmdMotorCecker(&mcmd4M3_struct,MCMD_CTRL_DUTY,0.3f,5000,0.0f);
//			  mcmdMotorCecker(&mcmd4M4_struct,MCMD_CTRL_DUTY,0.3f,5000,0.0f);
//			  mcmdMotorCecker(&mcmd4Mt_struct,MCMD_CTRL_DUTY,0.2f,5000,0.0f);
//			  base_hand_deployer(0);
//			  base1_arm_setter(1);
//			  osDelay(10000);
//			  base2_arm_setter(1);
//			  base1_hand_setter(1);
//			  base2_hand_setter(1);
			  	osDelay(1000);
			  	osDelay(3000);
			  finishCheck = true;
		  	  }
	  }
	  //freeRTOSChecker();
	  //airChecker();
//	  mcmdEncChecker(&mcmdM1_fb,&mcmd4M1_struct,100);
//	  mcmdEncChecker(&mcmdM2_fb,&mcmd4M2_struct,100);
//	  mcmdEncChecker(&mcmdM3_fb,&mcmd4M3_struct,100);
//	  mcmdEncChecker(&mcmdM4_fb,&mcmd4M4_struct,100);
//	  mcmdEncChecker(&mcmdM5_fb,&mcmd4M5_struct,100);
//	  mcmdEncChecker(&mcmdM6_fb,&mcmd4M6_struct,100);
	  osDelay(10);
  }
  /* USER CODE END StartSysCheckTask */
}

/* USER CODE BEGIN Header_StartMotorRunTask */
/**
* @brief Function implementing the MotorRunTask thread.
* @param argument: Not used
* @retval None
*/
void motorRun(){
	MCMD_SetTarget(&mcmd4M1_struct,dutyLimmiter(cmd_motor[0]));
	MCMD_SetTarget(&mcmd4M2_struct,dutyLimmiter(cmd_motor[1]));
	MCMD_SetTarget(&mcmd4M3_struct,dutyLimmiter(cmd_motor[2]));
	MCMD_SetTarget(&mcmd4M4_struct,dutyLimmiter(cmd_motor[3]));
}
/* USER CODE END Header_StartMotorRunTask */
void StartMotorRunTask(void *argument)
{
  /* USER CODE BEGIN StartMotorRunTask */

  /* Infinite loop */
  for(;;)
  {
	  motorRun();

    osDelay(10);
  }
  /* USER CODE END StartMotorRunTask */
}

/* USER CODE BEGIN Header_StartEncorderTask */
/**
* @brief Function implementing the EncorderTask thread.
* @param argument: Not used
* @retval None
*/

int16_t read_encoder1_value(void)
{
  uint16_t enc_buff = TIM1->CNT;
  TIM1->CNT = 0;//初期化
  return (int16_t)enc_buff;
}

int16_t read_encoder2_value(void)
{
  uint16_t enc_buff = TIM8->CNT;
  TIM8->CNT = 0;//初期化
  return (int16_t)enc_buff;
}

//エンコーダーの値を読む際に用いる変数の宣言
int64_t count1;
int64_t count2;
float quant_per_unit = 1.0/4096.0f;
/* USER CODE END Header_StartEncorderTask */
void StartEncorderTask(void *argument)
{
  /* USER CODE BEGIN StartEncorderTask */
	//エンコーダーの読み取りをスタート
//	HAL_TIM_Encoder_Start(&htim1, TIM_CHANNEL_ALL);
//	HAL_TIM_Encoder_Start(&htim8, TIM_CHANNEL_ALL);
  /* Infinite loop */
  for(;;)
  {
//	  count1 += read_encoder1_value();
//	  count2 += read_encoder2_value();

//	  enc.encfontright = Get_MCMD_Feedback(&(mcmd4M1_struct.device)).value;
//	  enc.encfrontleft = Get_MCMD_Feedback(&(mcmd4M2_struct.device)).value;
//	  enc.encbackright = Get_MCMD_Feedback(&(mcmd4M3_struct.device)).value;
//	  enc.encbackleft = Get_MCMD_Feedback(&(mcmd4M4_struct.device)).value;
//	  enc.enclx = Get_MCMD_Feedback(&(mcmd4M7_struct.device)).value;;
//	  enc.encly = Get_MCMD_Feedback(&(mcmd4M8_struct.device)).value;;
//	  enc.encadditional = 0.0;

//	  float base1 = Get_MCMD_Feedback(&(mcmd4M5_struct.device)).value;
//	  float base2 = Get_MCMD_Feedback(&(mcmd4M6_struct.device)).value;
//
//	  printf("base1 %f \r\n",base1);
//	  printf("base2 %f \r\n",base2);

//	  printf("enc1: %d\r\n",(int)(count1*quant_per_unit));
//	  printf("enc2: %d\r\n",(int)(count2*quant_per_unit));

    osDelay(1000);
  }
  /* USER CODE END StartEncorderTask */
}
